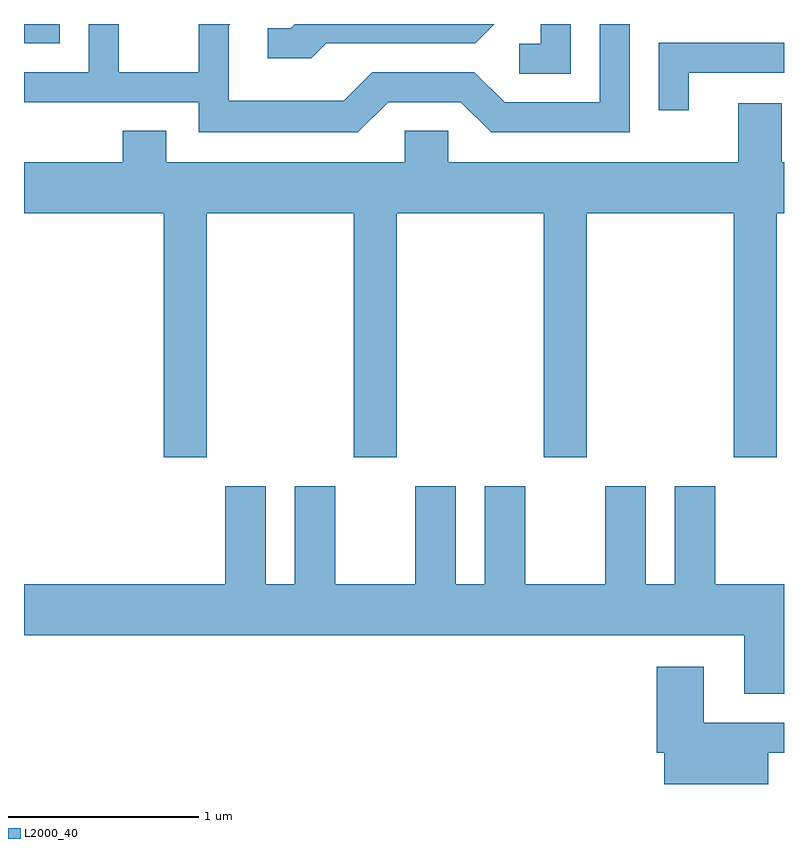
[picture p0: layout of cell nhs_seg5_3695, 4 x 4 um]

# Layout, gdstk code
import gdstk
lib = gdstk.Library(unit=1e-6, precision=1e-09)
def R(c, l, rs):  # rectangles x0, y0, x1, y1
    for r in rs: c.add(gdstk.rectangle(r[:2], r[2:], *l))
def P(c, l, *ps):  # polygons
    for p in ps: c.add(gdstk.Polygon(p, *l))
L2000_40 = (2000, 40)

nhs_seg5_3695 = lib.new_cell('nhs_seg5_3695')
R(nhs_seg5_3695, L2000_40, [(295.611,1399.971,295.799,1400.072)])
P(nhs_seg5_3695, L2000_40, [(298.489,1400.072),(298.331,1400.072),(298.331,1399.969),(298.218,1399.969),(298.218,1399.811),(298.489,1399.811)],
  [(297.527,1399.661),(297.909,1399.661),(298.069,1399.501),(298.799,1399.501),(298.799,1400.072),(298.641,1400.072),(298.641,1399.659),(298.142,1399.659),(297.982,1399.819),(297.444,1399.819),(297.294,1399.669),(296.689,1399.669),(296.689,1400.064),(296.697,1400.072),(296.531,1400.072),(296.531,1399.819),(296.109,1399.819),(296.109,1400.072),(295.951,1400.072),(295.951,1399.819),(295.611,1399.819),(295.611,1399.661),(296.531,1399.661),(296.531,1399.501),(297.367,1399.501)],
  [(297.202,1399.971),(297.987,1399.971),(298.087,1400.072),(297.037,1400.072),(297.014,1400.049),(296.893,1400.049),(296.893,1399.891),(297.122,1399.891)],
  [(299.109,1399.816),(299.611,1399.816),(299.611,1399.974),(298.951,1399.974),(298.951,1399.618),(299.109,1399.618)],
  [(296.574,1399.076),(297.346,1399.076),(297.346,1397.791),(297.574,1397.791),(297.574,1399.076),(298.346,1399.076),(298.346,1397.791),(298.574,1397.791),(298.574,1399.076),(299.346,1399.076),(299.346,1397.791),(299.574,1397.791),(299.574,1399.076),(299.611,1399.076),(299.611,1399.344),(299.599,1399.344),(299.599,1399.654),(299.371,1399.654),(299.371,1399.344),(297.844,1399.344),(297.844,1399.509),(297.616,1399.509),(297.616,1399.344),(296.359,1399.344),(296.359,1399.509),(296.131,1399.509),(296.131,1399.344),(295.611,1399.344),(295.611,1399.076),(296.346,1399.076),(296.346,1397.791),(296.574,1397.791)],
  [(299.611,1397.124),(299.249,1397.124),(299.249,1397.639),(299.036,1397.639),(299.036,1397.124),(298.884,1397.124),(298.884,1397.639),(298.671,1397.639),(298.671,1397.124),(298.249,1397.124),(298.249,1397.639),(298.036,1397.639),(298.036,1397.124),(297.884,1397.124),(297.884,1397.639),(297.671,1397.639),(297.671,1397.124),(297.249,1397.124),(297.249,1397.639),(297.036,1397.639),(297.036,1397.124),(296.884,1397.124),(296.884,1397.639),(296.671,1397.639),(296.671,1397.124),(295.611,1397.124),(295.611,1396.856),(299.401,1396.856),(299.401,1396.546),(299.611,1396.546)],
  [(299.529,1396.236),(299.611,1396.236),(299.611,1396.394),(299.189,1396.394),(299.189,1396.689),(298.941,1396.689),(298.941,1396.236),(298.981,1396.236),(298.981,1396.072),(299.529,1396.072)])

lib.write_gds('nhs_seg5_3695.gds')
